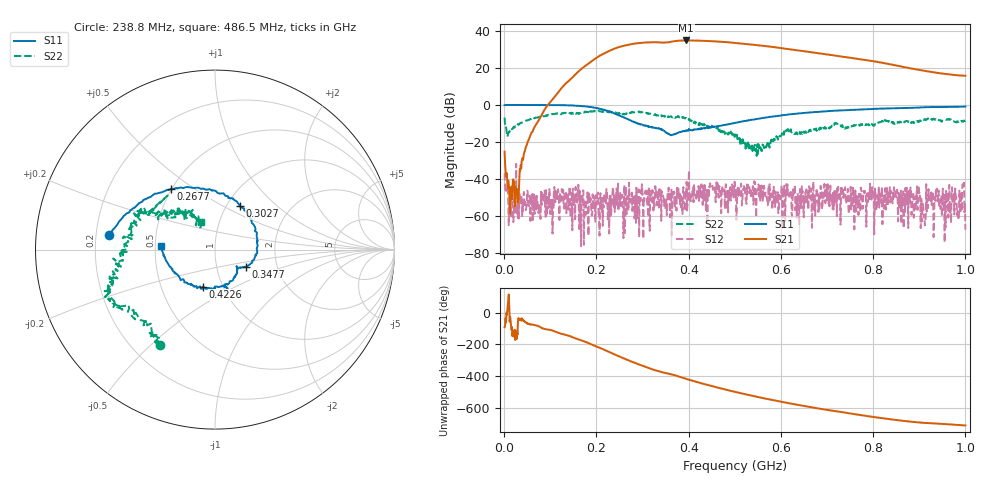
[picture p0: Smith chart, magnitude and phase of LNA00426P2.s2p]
! Created with skrf 1.9.0 (http://scikit-rf.org).
# Hz S RI R 50.0
!freq ReS11 ImS11 ReS21 ImS21 ReS12 ImS12 ReS22 ImS22
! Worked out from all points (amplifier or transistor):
!   1001 points, 1 MHz to 1 GHz, reference 50 ohm
!   highest |S21| = 34.8 dB at 394.6 MHz (marker M1)
!   |S21| within 3 dB of that: 257.2 MHz to 565.5 MHz (308.3 MHz wide, 74.9 % of centre)
!   unconditionally stable (mu >= 1): 222.1 MHz to 270.7 MHz; 298.9 MHz to 400.1 MHz; 400.9 MHz to end of sweep (the widest 3 of 37)
!   at 166.8 MHz: K = 26.11, MAG = 30.6 dB, |S12| = -76.3 dB
!   at 500.5 MHz: K = 1.41, MAG = 34.1 dB, |S12| = -42.3 dB
!   at 1 GHz: K = 29.99, MAG = 23.8 dB, |S12| = -67.4 dB
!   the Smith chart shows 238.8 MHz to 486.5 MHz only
!   S11 on the Smith chart (normalised r, x): 238.8 MHz: 0.25, +0.06; 267.7 MHz: 0.50, +0.41; 302.7 MHz: 1.15, +0.60; 347.7 MHz: 1.38, -0.28; 422.6 MHz: 0.80, -0.35; 486.5 MHz: 0.54, +0.02
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1000000  0.9888 0.00024  -0.00134 -0.0548  -0.0138 0.00365  0.3412 0.3037
1.09891e8  0.5216 -0.8483  -0.7837 -1.488  -0.00353 0.00139  0.449 -0.3572
1.67833e8  -0.2117 -0.9099  -9.452 -0.8503  -0.00163 0.00305  0.0539 -0.6159
2.08792e8  -0.656 -0.4187  -15.83 15.13  0.00178 -0.00374  -0.184 -0.6417
2.38762e8  -0.5916 0.0818  -4.156 32.76  -0.00394 3.73e-05  -0.3066 -0.5329
2.67733e8  -0.2452 0.3381  20.18 36.69  -0.00301 0.00164  -0.4542 -0.3351
2.84716e8  -0.0289 0.3365  34.08 30.26  -0.00154 0.00326  -0.5866 -0.2905
3.02698e8  0.1379 0.2413  44.46 17.5  -0.0012 -0.00305  -0.5701 -0.1962
3.34666e8  0.2356 -0.0197  48.31 -8.833  -0.00293 0.00405  -0.5149 -0.0262
3.47653e8  0.1704 -0.0967  45.32 -16.66  0.000778 0.00234  -0.5106 0.026
3.71629e8  0.1252 -0.1121  42.38 -32.18  -0.000382 0.00241  -0.4258 0.1745
3.94606e8  0.0738 -0.1911  28.86 -46.94  0.000845 0.00354  -0.399 0.2008
4.22578e8  -0.0676 -0.2085  7.462 -53.76  0.00218 -0.00133  -0.2514 0.2072
4.5055e8  -0.2025 -0.147  -12.75 -51.38  0.00595 0.00225  -0.165 0.2217
4.86514e8  -0.3019 0.0203  -31.76 -37.38  0.0044 0.00208  -0.0803 0.156
5.005e8  -0.309 0.1047  -36.62 -30.24  0.00551 -0.0053  -0.0951 0.105
5.4046e8  -0.2527 0.3176  -41.04 -9.559  0.000298 -0.00202  -0.0509 0.023
5.88412e8  -0.0573 0.4923  -34.4 10.24  -0.0015 -0.00431  -0.1228 -0.0612
6.67333e8  0.3216 0.5435  -13.47 22.44  -0.000443 0.000189  -0.2119 -0.0158
7.53247e8  0.6304 0.3792  2.844 18.27  0.00136 -0.00284  -0.2644 0.0476
8.34166e8  0.7911 0.148  8.644 9.328  0.00157 -0.0028  -0.3419 0.0891
1e9  0.8179 -0.385  6.111 0.7209  -0.000421 -7.22e-05  -0.1305 0.3516
